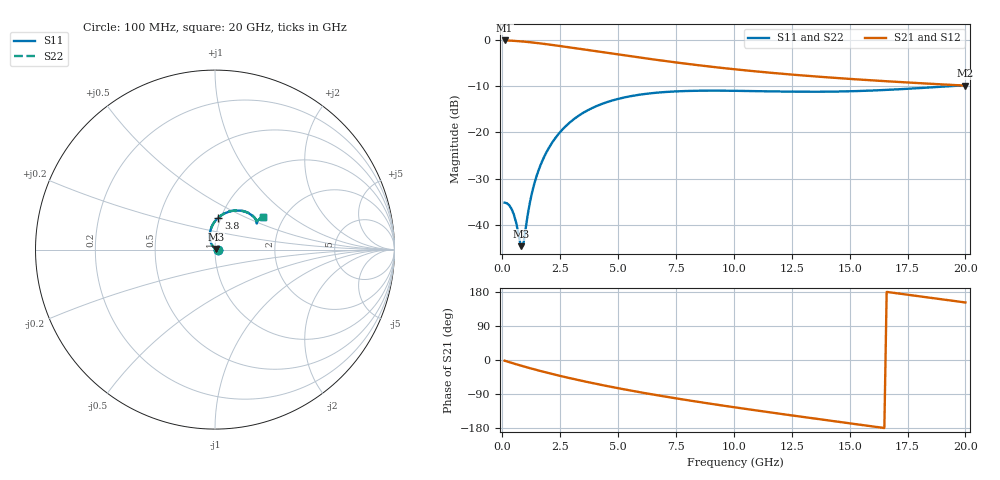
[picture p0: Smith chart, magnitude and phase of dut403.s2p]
! Touchstone file exported from HFSS 2024.1.0
!  File:  C:/UserFiles/LocalFiles/RDL_TSV_Batchsim/temp_RDL_TSV_403_1779711724.aedt
!  Generated:  08:41:36 PM May 25, 2026
!  Design:  RDL_TSV
!  Project:  temp_RDL_TSV_403_1779711724
!  Setup:  Setup1
!  Solution:  Sweep
! Variables:
!  dtsv = 10.4um
!  hbump = 3um
!  htsv = 89.46um
!  ldown = 377.15um
!  lrdl = 405.42um
!  p = 40
!  p1 = 50.72um
!  rhole = 10um
!  subl = 2753.13um
!  t = 450um
!  tdown = 4.5um
!  trdl = 2.27um
!  viad = 10um
!  wdown = 16.49um
!  wrdl = 22.06um
!  xbump = 18um
# GHz S MA R 50.000000
! Terminal data exported
! Port[1] = TM1_1_T1
! Port[2] = TM1_4_T1
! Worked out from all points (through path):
!   200 points, 100 MHz to 20 GHz, reference 50 ohm
!   highest |S21| = -0.16 dB at 100 MHz (marker M1); lowest = -9.9 dB at 20 GHz (marker M2)
!   group delay of S21, straight-line fit = 27.1 ps
!   lowest |S11| = -44.6 dB at 800 MHz (marker M3), VSWR 1.01, Z = 50.5 + j0.383 ohm
!   |S11| at or under -10 dB: start of sweep to 19.43 GHz
!   |S22| runs from -44.5 to -9.8 dB; largest |S21 - S12| = 1.7e-14
!   S11 on the Smith chart (normalised r, x): 100 MHz: 1.04, +0.00; 3.8 GHz: 0.97, +0.36; 20 GHz: 1.57, +0.64
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0.1  0.01744 1.1  0.982 -1.9  0.982 -1.9  0.01744 1.1
! Gamma 0 0 0 0
! Port Impedance 50 0 50 0
0.3  0.01637 1.1  0.9784 -5.7  0.9784 -5.7  0.01637 1.3
0.5  0.01298 2.5  0.9726 -9.4  0.9726 -9.4  0.013 2.7
0.6  0.01058 6.4  0.969 -11.2  0.969 -11.2  0.0106 6.6
0.8  0.005916 39.9  0.9607 -14.7  0.9607 -14.7  0.005938 40.1
0.9  0.005991 78.5  0.956 -16.5  0.956 -16.5  0.00601 78.6
1.1  0.013 116.4  0.9456 -20.0  0.9456 -20.0  0.01304 116.5
1.3  0.02327 122.8  0.9341 -23.3  0.9341 -23.3  0.02336 123.0
1.5  0.03493 122.5  0.9218 -26.6  0.9218 -26.6  0.03506 122.6
1.8  0.05394 118.5  0.9023 -31.4  0.9023 -31.4  0.05416 118.7
2.1  0.07393 113.3  0.8821 -36.0  0.8821 -36.0  0.07424 113.4
2.5  0.1009 105.9  0.8548 -42.0  0.8548 -42.0  0.1013 106.0
3  0.1333 96.9  0.8207 -49.0  0.8207 -49.0  0.1338 97.0
3.5  0.1629 88.6  0.7874 -55.8  0.7874 -55.8  0.1636 88.6
3.8  0.179 83.9  0.7678 -59.7  0.7678 -59.7  0.1797 84.0
5.1  0.233 67.0  0.6884 -75.6  0.6884 -75.6  0.234 67.1
6.8  0.2699 51.2  0.5999 -94.1  0.5999 -94.1  0.2712 51.3
8.4  0.2814 41.4  0.5332 -109.9  0.5332 -109.9  0.2828 41.5
10.1  0.2809 35.2  0.478 -125.4  0.478 -125.4  0.2825 35.2
13.4  0.2744 31.9  0.4036 -153.7  0.4036 -153.7  0.276 32.0
16.7  0.2882 34.0  0.355 178.9  0.355 178.9  0.2897 34.0
20  0.3228 34.3  0.3197 151.8  0.3197 151.8  0.3241 34.3
